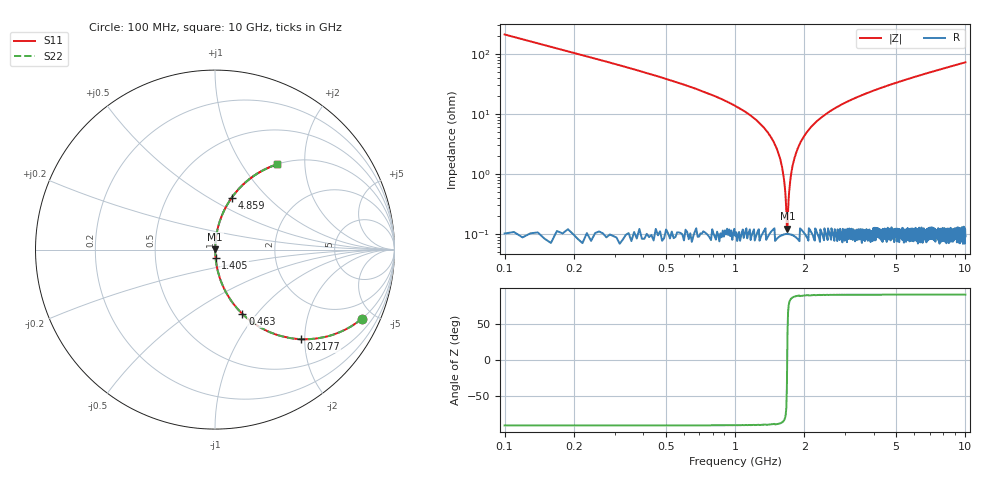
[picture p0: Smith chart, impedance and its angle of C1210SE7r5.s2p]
! AVX Thin Film Operation		Date: April 2012
! Description: Accu-P® Series, Thin Film, SMD, RF Capacitor
! Part Number: 12101J7R5BBTTR
!	100	MHz	-	10.05	GHz
!	Serial	Measurements
#	MHZ	S	MA	R	50
!	S11	S21	S12	S22
!	dB	Phase	dB	Phase	dB	Phase	dB	Phase
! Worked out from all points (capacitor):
!   1010 points, 100 MHz to 10 GHz, reference 50 ohm
!   read as one part in series: C = 7.5 pF near 149.1 MHz
!   lowest |Z| = 122 mohm at 1.689 GHz (marker M1)
!   series resonance near 1.685 GHz, so ESL is about 1.2 nH
!   S11 on the Smith chart (normalised r, x): 100 MHz: 1.00, -4.23; 217.7 MHz: 1.00, -1.92; 463 MHz: 1.00, -0.85; 1.405 GHz: 1.00, -0.09; 4.859 GHz: 1.00, +0.64; 10 GHz: 1.00, +1.45
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100  0.904 -25.3  0.427 64.7  0.427 64.7  0.904 -25.3
217.74  0.692 -46.2  0.722 43.8  0.722 43.8  0.692 -46.2
325.669  0.531 -57.8  0.847 32.1  0.847 32.1  0.531 -57.8
463.033  0.39 -66.9  0.92 22.9  0.92 22.9  0.39 -66.9
1120.416  0.105 -83.4  0.993 6.0  0.993 6.0  0.105 -83.4
1404.955  0.046 -86.1  0.998 2.6  0.998 2.6  0.046 -86.1
1552.131  0.021 -86.0  0.999 1.2  0.999 1.2  0.021 -86.0
1601.189  0.013 -84.8  0.999 0.7  0.999 0.7  0.013 -84.8
1650.248  0.00531 -78.8  0.999 0.3  0.999 0.3  0.00531 -78.8
1689.495  0.00122 35.1  0.999 -0.0  0.999 -0.0  0.00122 35.1
1718.93  0.00515 78.5  0.999 -0.3  0.999 -0.3  0.00515 78.5
1758.176  0.011 84.1  0.999 -0.6  0.999 -0.6  0.011 84.1
1807.235  0.018 85.8  0.999 -1.0  0.999 -1.0  0.018 85.8
1895.54  0.03 86.4  0.999 -1.7  0.999 -1.7  0.03 86.4
2180.079  0.065 85.4  0.997 -3.8  0.997 -3.8  0.065 85.4
2660.852  0.118 82.7  0.992 -6.8  0.992 -6.8  0.118 82.7
3406.541  0.189 78.8  0.981 -10.9  0.981 -10.9  0.189 78.8
4858.672  0.304 72.1  0.952 -17.7  0.952 -17.7  0.304 72.1
5054.906  0.318 71.3  0.947 -18.6  0.947 -18.6  0.318 71.3
6703.271  0.425 64.8  0.904 -25.1  0.904 -25.1  0.425 64.8
8351.635  0.513 59.0  0.857 -30.9  0.857 -30.9  0.513 59.0
10000  0.587 54.0  0.809 -36.0  0.809 -36.0  0.587 54.0
